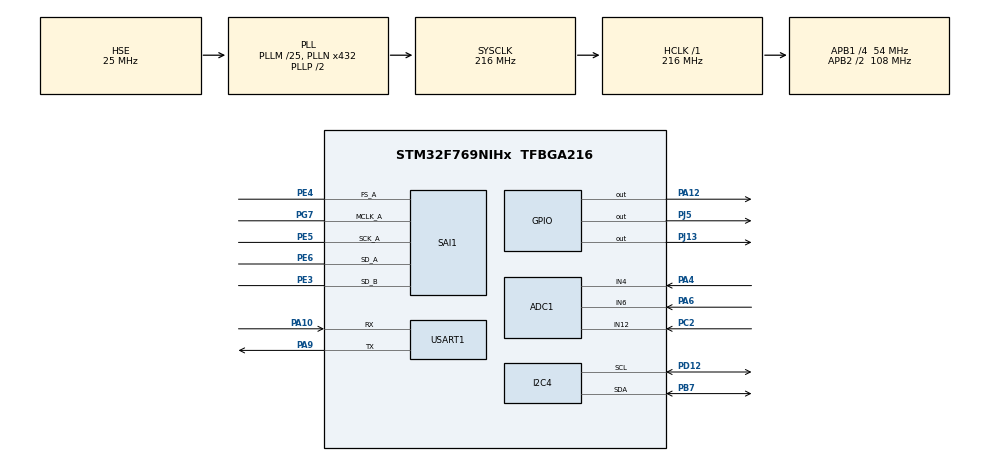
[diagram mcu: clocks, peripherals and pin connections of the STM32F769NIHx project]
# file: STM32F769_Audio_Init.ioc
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ADC1.Channel-0\#ChannelRegularConversion=ADC_CHANNEL_6
ADC1.Channel-1\#ChannelRegularConversion=ADC_CHANNEL_4
ADC1.Channel-2\#ChannelRegularConversion=ADC_CHANNEL_12
ADC1.DMAContinuousRequests=ENABLE
ADC1.EOCSelection=ADC_EOC_SEQ_CONV
ADC1.ExternalTrigConv=ADC_EXTERNALTRIGCONV_T5_TRGO
ADC1.NbrOfConversion=3
ADC1.NbrOfConversionFlag=1
ADC1.Rank-0\#ChannelRegularConversion=1
ADC1.Rank-1\#ChannelRegularConversion=2
ADC1.Rank-2\#ChannelRegularConversion=3
ADC1.SamplingTime-0\#ChannelRegularConversion=ADC_SAMPLETIME_480CYCLES
ADC1.SamplingTime-1\#ChannelRegularConversion=ADC_SAMPLETIME_480CYCLES
ADC1.SamplingTime-2\#ChannelRegularConversion=ADC_SAMPLETIME_480CYCLES
ADC1.master=1
Dma.ADC1.2.Direction=DMA_PERIPH_TO_MEMORY
Dma.ADC1.2.FIFOMode=DMA_FIFOMODE_DISABLE
Dma.ADC1.2.Instance=DMA2_Stream0
Dma.ADC1.2.MemDataAlignment=DMA_MDATAALIGN_HALFWORD
Dma.ADC1.2.MemInc=DMA_MINC_ENABLE
Dma.ADC1.2.Mode=DMA_CIRCULAR
Dma.ADC1.2.PeriphDataAlignment=DMA_PDATAALIGN_HALFWORD
Dma.ADC1.2.PeriphInc=DMA_PINC_DISABLE
Dma.ADC1.2.Priority=DMA_PRIORITY_LOW
Dma.Request0=SAI1_A
Dma.Request1=SAI1_B
Dma.Request2=ADC1
Dma.SAI1_A.0.Direction=DMA_MEMORY_TO_PERIPH
Dma.SAI1_A.0.FIFOMode=DMA_FIFOMODE_DISABLE
Dma.SAI1_A.0.Instance=DMA2_Stream1
Dma.SAI1_A.0.MemDataAlignment=DMA_MDATAALIGN_HALFWORD
Dma.SAI1_A.0.MemInc=DMA_MINC_ENABLE
Dma.SAI1_A.0.Mode=DMA_CIRCULAR
Dma.SAI1_A.0.PeriphDataAlignment=DMA_PDATAALIGN_HALFWORD
Dma.SAI1_A.0.PeriphInc=DMA_PINC_DISABLE
Dma.SAI1_A.0.Priority=DMA_PRIORITY_VERY_HIGH
Dma.SAI1_B.1.Direction=DMA_PERIPH_TO_MEMORY
Dma.SAI1_B.1.FIFOMode=DMA_FIFOMODE_DISABLE
Dma.SAI1_B.1.Instance=DMA2_Stream4
Dma.SAI1_B.1.MemDataAlignment=DMA_MDATAALIGN_HALFWORD
Dma.SAI1_B.1.MemInc=DMA_MINC_ENABLE
Dma.SAI1_B.1.Mode=DMA_CIRCULAR
Dma.SAI1_B.1.PeriphDataAlignment=DMA_PDATAALIGN_HALFWORD
Dma.SAI1_B.1.PeriphInc=DMA_PINC_DISABLE
Dma.SAI1_B.1.Priority=DMA_PRIORITY_VERY_HIGH
I2C4.Timing=0x20404768
Mcu.Family=STM32F7
Mcu.Name=STM32F769NIHx
Mcu.Package=TFBGA216
NVIC.DMA2_Stream0_IRQn=true\:0\:0\:false\:false\:true\:false\:true\:true
NVIC.DMA2_Stream1_IRQn=true\:0\:0\:false\:false\:true\:false\:true\:true
NVIC.DMA2_Stream4_IRQn=true\:0\:0\:false\:false\:true\:false\:true\:true
NVIC.PriorityGroup=NVIC_PRIORITYGROUP_4
PA10.Mode=Asynchronous
PA10.Signal=USART1_RX
PA12.Signal=GPIO_Output
PA4.Signal=ADCx_IN4
PA6.Signal=ADCx_IN6
PA9.Mode=Asynchronous
PA9.Signal=USART1_TX
PB7.Mode=I2C
PB7.Signal=I2C4_SDA
PC2.Signal=ADCx_IN12
PD12.Mode=I2C
PD12.Signal=I2C4_SCL
PE3.Mode=SAI_B_SyncSlave
PE3.Signal=SAI1_SD_B
PE4.Mode=SAI_A_MasterWithClock
PE4.Signal=SAI1_FS_A
PE5.Mode=SAI_A_MasterWithClock
PE5.Signal=SAI1_SCK_A
PE6.Mode=SAI_A_MasterWithClock
PE6.Signal=SAI1_SD_A
PG7.Mode=SAI_A_MasterWithClock
PG7.Signal=SAI1_MCLK_A
PH0/OSC_IN.Mode=HSE-External-Oscillator
PH0/OSC_IN.Signal=RCC_OSC_IN
PH1/OSC_OUT.Mode=HSE-External-Oscillator
PH1/OSC_OUT.Signal=RCC_OSC_OUT
PJ13.Signal=GPIO_Output
PJ5.Signal=GPIO_Output
ProjectManager.HeapSize=0x200
ProjectManager.StackSize=0x400
ProjectManager.TargetToolchain=STM32CubeIDE
RCC.AHBFreq_Value=216000000
RCC.APB1CLKDivider=RCC_HCLK_DIV4
RCC.APB1Freq_Value=54000000
RCC.APB1TimFreq_Value=108000000
RCC.APB2CLKDivider=RCC_HCLK_DIV2
RCC.APB2Freq_Value=108000000
RCC.APB2TimFreq_Value=216000000
RCC.CortexFreq_Value=216000000
RCC.HCLKFreq_Value=216000000
RCC.HSE_VALUE=25000000
RCC.HSI_VALUE=16000000
RCC.LSE_VALUE=32768
RCC.PLLI2SN=344
RCC.PLLI2SQ=7
RCC.PLLM=25
RCC.PLLN=432
RCC.PLLQ=9
RCC.PLLSAIQ=3
RCC.PLLSourceVirtual=RCC_PLLSOURCE_HSE
RCC.SAI1CLockSelection=RCC_SAI1CLKSOURCE_PLLI2S
RCC.SYSCLKFreq_VALUE=216000000
RCC.SYSCLKSource=RCC_SYSCLKSOURCE_PLLCLK
RCC.USBFreq_Value=48000000
RCC.VCOOutputFreq_Value=432000000
SAI1.AudioFrequency-SAI_A_MasterWithClock=SAI_AUDIO_FREQUENCY_48K
SAI1.BasicSlotNumber-SAI_A_MasterWithClock=4
SAI1.BasicSlotNumber-SAI_B_SyncSlave=4
SAI1.ErrorAudioFreq-SAI_A_MasterWithClock=-0.01 %
SAI1.FIFOThreshold-SAI_A_MasterWithClock=SAI_FIFOTHRESHOLD_1QF
SAI1.FIFOThreshold-SAI_B_SyncSlave=SAI_FIFOTHRESHOLD_1QF
SAI1.InitProtocol-SAI_A_MasterWithClock=Enable
SAI1.InitProtocol-SAI_B_SyncSlave=Enable
SAI1.Instance-SAI_A_MasterWithClock=SAI$Index_Block_A
SAI1.Instance-SAI_B_SyncSlave=SAI$Index_Block_B
SAI1.MClockEnable-SAI_A_MasterWithClock=SAI_MASTERCLOCK_ENABLE
SAI1.OutputDrive-SAI_A_MasterWithClock=SAI_OUTPUTDRIVE_ENABLE
SAI1.OutputDrive-SAI_B_SyncSlave=SAI_OUTPUTDRIVE_ENABLE
SAI1.RealAudioFreq-SAI_A_MasterWithClock=47.991 KHz
SAI1.VirtualMode-SAI_A_MasterWithClock=VM_MASTER
SAI1.VirtualMode-SAI_B_SyncSlave=VM_SLAVE
SAI1.VirtualProtocol-SAI_A_BASIC=VM_BASIC_PROTOCOL
SAI1.VirtualProtocol-SAI_B_BASIC=VM_BASIC_PROTOCOL
SH.ADCx_IN12.0=ADC1_IN12,IN12
SH.ADCx_IN4.0=ADC1_IN4,IN4
SH.ADCx_IN6.0=ADC1_IN6,IN6
TIM5.Period=1332
TIM5.Prescaler=108-1
TIM5.TIM_MasterOutputTrigger=TIM_TRGO_UPDATE
USART1.VirtualMode-Asynchronous=VM_ASYNC
VP_SAI1_VP_$IpInstance_SAIA_SAI_BASIC.Mode=SAI_A_BASIC
VP_SAI1_VP_$IpInstance_SAIB_SAI_BASIC.Mode=SAI_B_BASIC
VP_TIM5_VS_ClockSourceINT.Mode=Internal
board=STM32F769I-DISCO

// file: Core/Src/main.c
/* USER CODE BEGIN Header */
/**
  ******************************************************************************
  * @file           : main.c
  * @brief          : Main program body
  ******************************************************************************
  * @attention
  *
  * Copyright (c) 2022 STMicroelectronics.
  * All rights reserved.
  *
  * This software is licensed under terms that can be found in the LICENSE file
  * in the root directory of this software component.
  * If no LICENSE file comes with this software, it is provided AS-IS.
  *
  ******************************************************************************
  */
/* USER CODE END Header */
#include "main.h"
#include "adc.h"
#include "dma.h"
#include "i2c.h"
#include "sai.h"
#include "tim.h"
#include "usart.h"
#include "gpio.h"

/* USER CODE BEGIN Includes */
#include <stdint.h>
#include <stdio.h>
#include "Codec.h"
#include "dsp/filtering_functions.h"
#include "iir_filter.h"
//#include "Yin.h"
/* USER CODE END Includes */

/* USER CODE BEGIN PM */
#define RECORD_BUFFER_SIZE 1024//4096 // 1024*4=4096 bei 96khz (x2stereo + x2 double buffer = x4)                 (512*4=2048 bei 48khz)

#define KICK_THRESH 3 	//4.5
#define KICK_MIN_VAL 7000		//7000   //old 9000
#define KICK_MAX 20000 		//20000
#define KICK_EMA_ALPHA 0.01
#define KICK_TRANS_EXP 4
#define NUM_SHORT_AVR 4 	//4
#define NUM_BEAT_HIST 10	//15

#define BREAK_DIF 600 		//0.8
#define BREAK_THRESH 8000 	//7000
#define BREAK_MIN_VAL 3000 	//2000
#define BREAK_SLOPE 10 		//10
#define BREAK_EMA_ALPHA 0.06
#define NUM_BREAK_AVR 100 	//100

#define PUTCHAR_PROTOTYPE int __io_putchar(int ch)

//#define YIN_BUFFER_SIZE 512 //256 //1024

/* USER CODE END PM */

/* USER CODE BEGIN PV */
//float32_t state_L_break[2*STAGES];	// state arrays
//float32_t state_R_break[2*STAGES];
//float32_t state_L_kick[2*STAGES];
//float32_t state_R_kick[2*STAGES];
//float32_t state_kick[2*STAGES];//old with iir_kick_96							//#################################
float32_t state_L_melody[2*STAGES];
float32_t state_R_melody[2*STAGES];

float32_t state_break[2*STAGES];
float32_t state_kick[4*STAGES];//4*5Stages (2*10stages)

//arm_biquad_cascade_df2T_instance_f32 IIR_L_break;	 // create IIR instances
//arm_biquad_cascade_df2T_instance_f32 IIR_R_break;
//arm_biquad_cascade_df2T_instance_f32 IIR_L_kick;
//arm_biquad_cascade_df2T_instance_f32 IIR_R_kick;
arm_biquad_cascade_df2T_instance_f32 IIR_L_melody;
arm_biquad_cascade_df2T_instance_f32 IIR_R_melody;
arm_biquad_cascade_df2T_instance_f32 IIR_break; 			//#################################
arm_biquad_cascade_df2T_instance_f32 IIR_kick; 			//#################################

//variables
uint16_t 	kick_ema = 0;
uint16_t 	break_ema = 0;
int16_t  	slope_ema = 0;
int16_t  	pitch_ema = 0;
uint16_t 	slope_old_energy = 0;
uint32_t 	kick_value = 0;
uint32_t 	break_value = 0;
uint32_t 	mel_L_value = 0;
uint32_t 	mel_R_value = 0; //#################### # # #
int32_t 	melody_value = 0;
uint16_t 	kick_avr = 0;
uint16_t    break_avr = 0;
uint16_t 	kick_transformed = 0;
uint16_t 	melodybufferpos = 0;

//Yin yin;
//float pitch;

//arrays
uint16_t 	break_avr_buffer[NUM_BREAK_AVR];
uint16_t 	short_avr_buffer[NUM_SHORT_AVR];
uint8_t		beat_hist_buffer[NUM_BEAT_HIST];

int16_t RecordBuffer[RECORD_BUFFER_SIZE];
int16_t PlaybackBuffer[RECORD_BUFFER_SIZE];
//int16_t MelodyBuffer[YIN_BUFFER_SIZE];
//int16_t left_channel[RECORD_BUFFER_SIZE];
//int16_t right_channel[RECORD_BUFFER_SIZE];
static volatile int16_t *RecordBufferPtr = &RecordBuffer;
static volatile int16_t *PlaybackBufferPtr = &PlaybackBuffer;

volatile uint8_t dataReadyFlag;

/*Buffer and Variables ADC1 Channel on Pins A0, A1, A2*/
uint16_t AdcValues[3];
uint16_t AdcChannel1, AdcChannel2, AdcChannel3;
/* USER CODE END PV */

void SystemClock_Config(void);
void PeriphCommonClock_Config(void);
/* USER CODE BEGIN PFP */
void ProcessData();
//void CalYin();

uint16_t cal_short_avr(uint16_t energy);
uint16_t transform_exp(uint16_t value, uint16_t max_value, uint16_t exp);
uint16_t cal_ema(uint16_t new_value, float alpha, uint16_t previous_ema);
uint8_t beat_history(uint8_t is_beat);
uint16_t cal_break_avr(uint16_t energy);
int16_t cal_slope(uint16_t energy);
void OutputUart(int output);

/* USER CODE END PFP */

int main(void)
{

  /* MCU Configuration--------------------------------------------------------*/

  /* Reset of all peripherals, Initializes the Flash interface and the Systick. */
  HAL_Init();

  /* USER CODE BEGIN Init */
  arm_biquad_cascade_df2T_init_f32(&IIR_L_melody, STAGES, ba_coeff_melody, state_L_melody);
  arm_biquad_cascade_df2T_init_f32(&IIR_R_melody, STAGES, ba_coeff_melody, state_R_melody);
  arm_biquad_cascade_df2T_init_f32(&IIR_break, 	STAGES,   ba_coeff_break,  state_break);
  arm_biquad_cascade_df2T_init_f32(&IIR_kick,  	2*STAGES, ba_coeff_kick,   state_kick);

  //Yin_init(&yin, (YIN_BUFFER_SIZE), 0.5); //initialize yin algorithm
  /* USER CODE END Init */

  /* Configure the system clock */
  SystemClock_Config();

/* Configure the peripherals common clocks */
  PeriphCommonClock_Config();

  /* Initialize all configured peripherals */
  MX_GPIO_Init();
  MX_DMA_Init();
  MX_I2C4_Init();
  MX_SAI1_Init();
  MX_ADC1_Init();
  MX_TIM5_Init();
  MX_USART1_UART_Init();
  /* USER CODE BEGIN 2 */
  HAL_SAI_Transmit_DMA(&hsai_BlockA1, (uint8_t*) PlaybackBuffer, RECORD_BUFFER_SIZE);
  HAL_SAI_Receive_DMA(&hsai_BlockB1, (uint8_t*) RecordBuffer, RECORD_BUFFER_SIZE);

  HAL_TIM_Base_Start_IT(&htim5);
  HAL_ADC_Start_DMA(&hadc1, (uint32_t*) AdcValues, 3);

  Codec();

  printf("END Setup\r\n");
  /* USER CODE END 2 */

  /* Infinite loop */
  /* USER CODE BEGIN WHILE */
  printf("START while\r\n");
  while (1)
  {
    /* USER CODE END WHILE */

    /* USER CODE BEGIN 3 */
	  if(dataReadyFlag){
		  ProcessData();

		  dataReadyFlag = 0;
	  }
	  //CalYin();
  }
  /* USER CODE END 3 */
}

void SystemClock_Config(void)
{
  RCC_OscInitTypeDef RCC_OscInitStruct = {0};
  RCC_ClkInitTypeDef RCC_ClkInitStruct = {0};

  /** Configure the main internal regulator output voltage
  */
  __HAL_RCC_PWR_CLK_ENABLE();
  __HAL_PWR_VOLTAGESCALING_CONFIG(PWR_REGULATOR_VOLTAGE_SCALE1);
  /** Initializes the RCC Oscillators according to the specified parameters
  * in the RCC_OscInitTypeDef structure.
  */
  RCC_OscInitStruct.OscillatorType = RCC_OSCILLATORTYPE_HSE;
  RCC_OscInitStruct.HSEState = RCC_HSE_ON;
  RCC_OscInitStruct.PLL.PLLState = RCC_PLL_ON;
  RCC_OscInitStruct.PLL.PLLSource = RCC_PLLSOURCE_HSE;
  RCC_OscInitStruct.PLL.PLLM = 25;
  RCC_OscInitStruct.PLL.PLLN = 432;
  RCC_OscInitStruct.PLL.PLLP = RCC_PLLP_DIV2;
  RCC_OscInitStruct.PLL.PLLQ = 9;
  RCC_OscInitStruct.PLL.PLLR = 2;
  if (HAL_RCC_OscConfig(&RCC_OscInitStruct) != HAL_OK)
  {
    Error_Handler();
  }
  /** Activate the Over-Drive mode
  */
  if (HAL_PWREx_EnableOverDrive() != HAL_OK)
  {
    Error_Handler();
  }
  /** Initializes the CPU, AHB and APB buses clocks
  */
  RCC_ClkInitStruct.ClockType = RCC_CLOCKTYPE_HCLK|RCC_CLOCKTYPE_SYSCLK
                              |RCC_CLOCKTYPE_PCLK1|RCC_CLOCKTYPE_PCLK2;
  RCC_ClkInitStruct.SYSCLKSource = RCC_SYSCLKSOURCE_PLLCLK;
  RCC_ClkInitStruct.AHBCLKDivider = RCC_SYSCLK_DIV1;
  RCC_ClkInitStruct.APB1CLKDivider = RCC_HCLK_DIV4;
  RCC_ClkInitStruct.APB2CLKDivider = RCC_HCLK_DIV2;

  if (HAL_RCC_ClockConfig(&RCC_ClkInitStruct, FLASH_LATENCY_7) != HAL_OK)
  {
    Error_Handler();
  }
}

void PeriphCommonClock_Config(void)
{
  RCC_PeriphCLKInitTypeDef PeriphClkInitStruct = {0};

  /** Initializes the peripherals clock
  */
  PeriphClkInitStruct.PeriphClockSelection = RCC_PERIPHCLK_SAI1;
  PeriphClkInitStruct.PLLI2S.PLLI2SN = 344;
  PeriphClkInitStruct.PLLI2S.PLLI2SP = RCC_PLLP_DIV2;
  PeriphClkInitStruct.PLLI2S.PLLI2SR = 2;
  PeriphClkInitStruct.PLLI2S.PLLI2SQ = 7;
  PeriphClkInitStruct.PLLI2SDivQ = 1;
  PeriphClkInitStruct.Sai1ClockSelection = RCC_SAI1CLKSOURCE_PLLI2S;
  if (HAL_RCCEx_PeriphCLKConfig(&PeriphClkInitStruct) != HAL_OK)
  {
    Error_Handler();
  }
}

/* USER CODE BEGIN 4 */

/**
  * @brief  Retargets the C library printf function to the USART.
  *   None
  * @retval None
  */
PUTCHAR_PROTOTYPE
{
  /* Place your implementation of fputc here */
  /* e.g. write a character to the USART1 and Loop until the end of transmission */
  HAL_UART_Transmit(&huart1, (uint8_t *)&ch, 1, 0xFFFF);

  return ch;
}

void HAL_SAI_RxHalfCpltCallback(SAI_HandleTypeDef *hsai){

	RecordBufferPtr = &RecordBuffer[0];
	PlaybackBufferPtr = &PlaybackBuffer[0];

	dataReadyFlag = 1;

}

void HAL_SAI_RxCpltCallback(SAI_HandleTypeDef *hsai){

	RecordBufferPtr = &RecordBuffer[RECORD_BUFFER_SIZE/2];
	PlaybackBufferPtr = &PlaybackBuffer[RECORD_BUFFER_SIZE/2];

	dataReadyFlag = 1;

}

void HAL_ADC_ConvCpltCallback(ADC_HandleTypeDef* hadc){

	AdcChannel1 = AdcValues[0];
	AdcChannel2 = AdcValues[1];
	AdcChannel3 = AdcValues[2];
}

void ProcessData(){

	//HAL_GPIO_WritePin(GPIOJ, GPIO_PIN_13, GPIO_PIN_SET);//LD1
	HAL_GPIO_WritePin(GPIOJ, GPIO_PIN_5, GPIO_PIN_SET);	//LD2
	//HAL_GPIO_WritePin(GPIOA, GPIO_PIN_12, GPIO_PIN_SET);//LD3

	 volatile static float leftIn, rightIn;
	 volatile static float monoIn;
	 volatile static float kickOut;
	 volatile static float breakOut;
	 volatile static float melody_leftOut, melody_rightOut;
	 //uint16_t kick = 0;
	 //uint16_t right = 0;

	 //volatile static float break_leftOut, break_rightOut;
	 kick_value = 0;
	 break_value = 0;

	 for (uint16_t i =0; i<(RECORD_BUFFER_SIZE/2)-1 ; i+=2){

	 		/*Audio Input convert to float Left Channel*/
		 	leftIn = (1.0f/32768.0f)* RecordBufferPtr[i];

		 	/*Clip sample values > 1.0f*/
	 		if (leftIn > 1.0f){
	 			leftIn -= 2.0f;
	 			//HAL_GPIO_WritePin(GPIOJ, GPIO_PIN_13, GPIO_PIN_SET);
	 		}

	 		/*Audio Input convert to float Right Channel*/
	 		rightIn = (1.0f/32768.0f)* RecordBufferPtr[i+1];

	 		/*Clip sample values > 1.0f*/
	 		if (rightIn > 1.0f){
	 			rightIn -= 2.0f;
	 			//HAL_GPIO_WritePin(GPIOJ, GPIO_PIN_13, GPIO_PIN_SET);
	 		 }

	 		monoIn = (1.0f/32768.0f) * ((RecordBufferPtr[i] + RecordBufferPtr[i+1]) / 2);

	 		/*Do some processing*/
	 		arm_biquad_cascade_df2T_f32(&IIR_L_melody, &leftIn,  &melody_leftOut,  1);
	 		arm_biquad_cascade_df2T_f32(&IIR_R_melody, &rightIn, &melody_rightOut, 1);

	 		arm_biquad_cascade_df2T_f32(&IIR_kick, &monoIn, &kickOut, 1);
	 		arm_biquad_cascade_df2T_f32(&IIR_break, &monoIn, &breakOut, 1);

	 		//kick_leftOut  = fabs(leftOut);
	 		//kick_rightOut = fabs(rightOut);

	 		//left  = (uint16_t) (65536.0f * kick_leftOut);
	 		//right = (uint16_t) (65536.0f * kick_rightOut);

	 		//left  = (32768.0f * kick_leftOut);
	 		//left  = (32768.0f * fabs(kickOut));
	 		//right  = (32768.0f * fabs(breakOut));

	 		//kick_value += (left + right) / 2;
	 		//kick_value += (left + right);
	 		mel_L_value += ((32768.0f * fabs(melody_leftOut))*2);
	 		mel_R_value += ((32768.0f * fabs(melody_rightOut))*2);
	 		kick_value 	+= ((32768.0f * fabs(kickOut)) 	* 2);
	 		break_value += ((32768.0f * fabs(breakOut)) * 2);
	 		melody_value = (32768.0f * ((melody_leftOut + melody_rightOut)/2));

	 		//MelodyBuffer[melodybufferpos] = melody_value;
	 		//melodybufferpos++;

	 		//break_value += (uint16_t)((fabs(break_leftOut) + fabs(break_rightOut)) / 2);

	 		//leftOut = leftIn;
	 		//rightOut = rightIn; //return audio in to audio out

	 		/*Convert back to int16*/
	 		//PlaybackBufferPtr[i] 	= (int16_t) (1000.0f * melody_leftOut);  //(1000.0f * leftIn) 400-1500 Hz
	 		//PlaybackBufferPtr[i+1] 	= (int16_t) (1000.0f * melody_rightOut); //(32768.0f * rightIn)

	 		//PlaybackBufferPtr[i] 	= (int16_t) (32768.0f * kickOut);  //(1000.0f * leftIn) 100-300Hz
	 		//PlaybackBufferPtr[i+1] 	= (int16_t) (32768.0f * kickOut); //(32768.0f * rightIn)

	 		//PlaybackBufferPtr[i] 	= (int16_t) (32768.0f * breakOut);  //(1000.0f * leftIn) 0-300 Hz
	 		//PlaybackBufferPtr[i+1] 	= (int16_t) (32768.0f * breakOut); //(32768.0f * rightIn)

	 		PlaybackBufferPtr[i] 	= (int16_t) (1200.0f * leftIn);  //(1000.0f * leftIn)
	 		PlaybackBufferPtr[i+1] 	= (int16_t) (1200.0f * rightIn); //(32768.0f * rightIn)

	 		//kick_value = fabs(PlaybackBufferPtr[i]) + fabs(PlaybackBufferPtr[i+1]);
	 }

	 kick_value = kick_value / (RECORD_BUFFER_SIZE/4);
	 break_value = break_value / (RECORD_BUFFER_SIZE/4);
	 //OutputUart(kick_value);
	 printf("%u\r\n",kick_value);
	 printf("%u\r\n",break_value);
	 //printf("Hello World %u\r\n",kick_value);
	 //printf(kick_value);

	 kick_avr  			= cal_short_avr(kick_value);
	 kick_transformed  	= transform_exp(kick_avr, KICK_MIN_VAL, KICK_TRANS_EXP); //with old max energy: transform_exp(kick_avr,9000,4)
	 kick_ema          	= cal_ema(kick_transformed, KICK_EMA_ALPHA, kick_ema);

	 if ((KICK_MIN_VAL < kick_transformed) && (kick_transformed > (kick_ema * KICK_THRESH))){ //and not (break_energy_value < break_threshold): # detect beat
		 if(beat_history(1) == 1){
		 	 HAL_GPIO_WritePin(GPIOA, GPIO_PIN_12, GPIO_PIN_SET);//LD3
		 }
		 else{
			 HAL_GPIO_WritePin(GPIOA, GPIO_PIN_12, GPIO_PIN_RESET);
		 }
	 }
	 else{
		 beat_history(0);
		 HAL_GPIO_WritePin(GPIOA, GPIO_PIN_12, GPIO_PIN_RESET);
	 }

	 break_avr         	= cal_break_avr(break_value);
	 break_ema         	= cal_ema(break_avr, BREAK_EMA_ALPHA, break_ema);

	 //if ((((BREAK_DIF < (break_avr / break_ema)) && (10 < cal_slope(break_ema))) || (break_ema > BREAK_THRESH)) && (!(break_ema < BREAK_MIN_VAL) || !(BREAK_DIF > (break_avr/break_ema)))){
	 //if (break_ema > BREAK_THRESH){
	 if ((break_ema > BREAK_MIN_VAL) && (((break_ema > BREAK_THRESH) &&  !((break_ema - break_avr)> BREAK_DIF)) || ((cal_slope(break_ema) > BREAK_SLOPE) && ((break_avr - break_ema)> BREAK_DIF)))){
		 HAL_GPIO_WritePin(GPIOJ, GPIO_PIN_13, GPIO_PIN_SET);
	 }
	 else{
		 HAL_GPIO_WritePin(GPIOJ, GPIO_PIN_13, GPIO_PIN_RESET);
	 }

	 //HAL_GPIO_WritePin(GPIOJ, GPIO_PIN_13, GPIO_PIN_RESET);
	 HAL_GPIO_WritePin(GPIOJ, GPIO_PIN_5, GPIO_PIN_RESET);
	 //HAL_GPIO_WritePin(GPIOA, GPIO_PIN_12, GPIO_PIN_RESET);
}
/*
void CalYin(){
	if(melodybufferpos >= YIN_BUFFER_SIZE){
			 HAL_GPIO_WritePin(GPIOJ, GPIO_PIN_13, GPIO_PIN_SET);
			 melodybufferpos = 0;
			 //pitch = Yin_getPitch(&yin, MelodyBuffer);
			 int16_t pitch_int = pitch;
			 pitch_ema         	= cal_ema(pitch_int, 0.1, pitch_ema);
			 printf("pitch: %d\r\n",pitch_ema);
			 HAL_GPIO_WritePin(GPIOJ, GPIO_PIN_13, GPIO_PIN_RESET);
		 }
}*/

uint16_t cal_short_avr(uint16_t energy){
	for (uint8_t val = NUM_SHORT_AVR; val > 0; val--) {
		if (val > 1) {
			short_avr_buffer[val - 1] = short_avr_buffer[val - 2]; //move value to next position
	    }
		else {
	    	short_avr_buffer[val - 1] = energy; // add new value to first position
	    }
	}
	uint16_t kick_average = 0;
	for (uint8_t n = 0; n < NUM_SHORT_AVR; n++) {
		kick_average += ((1.0f/NUM_SHORT_AVR) * short_avr_buffer[n]);
	}
	return kick_average;
}

uint16_t cal_break_avr(uint16_t energy){
	for (uint8_t val = NUM_BREAK_AVR; val > 0; val--) {
		if (val > 1) {
			break_avr_buffer[val - 1] = break_avr_buffer[val - 2]; //move value to next position
	    }
		else {
			break_avr_buffer[val - 1] = energy; // add new value to first position
	    }
	}
	uint16_t break_average = 0;
	for (uint8_t n = 0; n < NUM_BREAK_AVR; n++) {
		break_average += ((1.0f/NUM_BREAK_AVR) * break_avr_buffer[n]);
	}
	return break_average;
}

uint16_t transform_exp(uint16_t value, uint16_t max_value, uint16_t exp){
	uint16_t transformed_value = (pow(value, exp) / pow(max_value, (exp-1)));
	if(transformed_value > KICK_MAX){
		transformed_value = KICK_MAX;
	}
	return transformed_value;
}

uint16_t cal_ema(uint16_t new_value, float alpha, uint16_t previous_ema){
	uint16_t ema = alpha * new_value + (1 - alpha) * previous_ema;
	return ema;
}

int16_t cal_slope(uint16_t energy){
    int16_t slope = energy - slope_old_energy;
    slope_old_energy = energy;
    slope_ema = cal_ema(slope, 0.06, slope_ema);
    return slope_ema;
}

uint8_t beat_history(uint8_t is_beat) {
    // Überprüfen, ob is_beat gültig ist
    if (is_beat != 0 && is_beat != 1) {
        is_beat = 0;
    }

    // Pufferwerte verschieben und neuen Wert hinzufügen
    for (uint8_t val = NUM_BEAT_HIST; val > 0; val--){
        if (val > 1) {
            if (beat_hist_buffer[val - 2] != 0) {
            	is_beat = 0;
            }
            beat_hist_buffer[val - 1] = beat_hist_buffer[val - 2]; // Wert zur nächsten Position verschieben
        }
        else {
            beat_hist_buffer[val - 1] = is_beat; // Neuen Wert an erster Position hinzufügen
        }
    }

    return is_beat; // Rückgabe des aktuellen beat_hist
}

/*
void OutputUart(int output){ //Output string detection to uart (baud rate 460800)
	char outputarray[30];//[50]; 				//output array for uart output
	if(output != 0){ //OUTPUT string detected
		sprintf(outputarray, "\n\r String: %d ", output);
		HAL_UART_Transmit(&huart1, outputarray, 30, HAL_MAX_DELAY); //sizeof(outputarray)
	//uint8_t data[] = "Hello, World!\n";
	}

}
*/

/* USER CODE END 4 */

void Error_Handler(void)
{
  __disable_irq();
  while (1)
  {
  }
}
